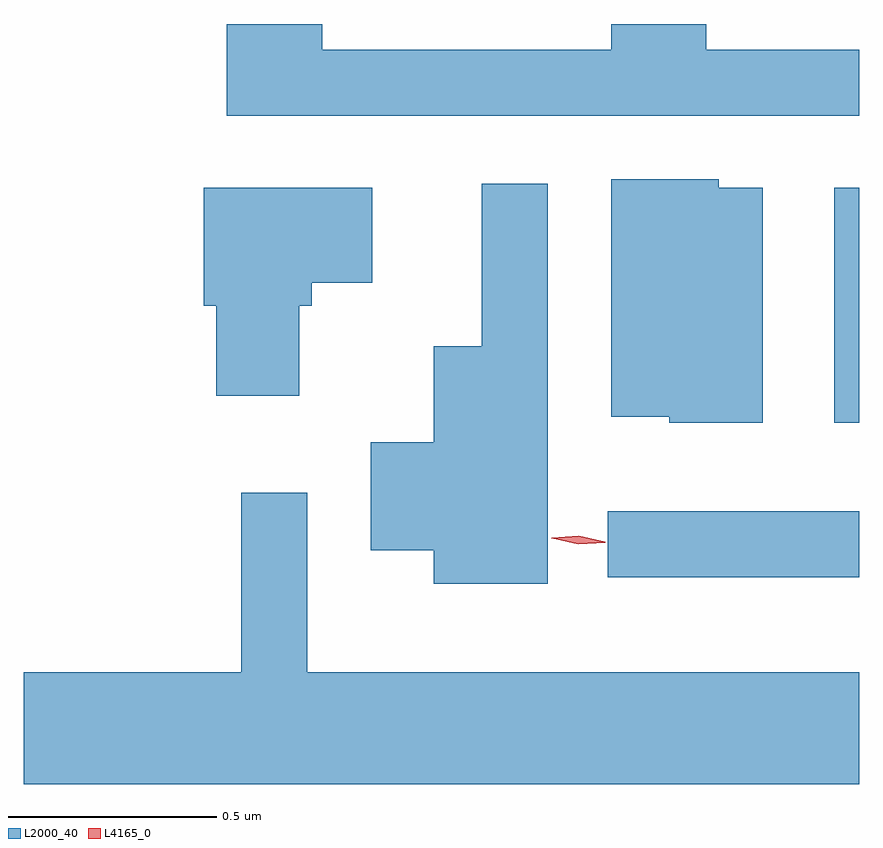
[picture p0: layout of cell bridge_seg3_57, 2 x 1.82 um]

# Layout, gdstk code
import gdstk
lib = gdstk.Library(unit=1e-6, precision=1e-09)
def R(c, l, rs):  # rectangles x0, y0, x1, y1
    for r in rs: c.add(gdstk.rectangle(r[:2], r[2:], *l))
def P(c, l, *ps):  # polygons
    for p in ps: c.add(gdstk.Polygon(p, *l))
L2000_40 = (2000, 40)
L4165_0 = (4165, 0)

bridge_seg3_57 = lib.new_cell('bridge_seg3_57')
R(bridge_seg3_57, L2000_40, [(1180.823,1173.131,1181.425,1173.289), (1181.366,1173.501,1181.425,1174.064)])
P(bridge_seg3_57, L2000_40, [(1181.425,1174.394),(1181.059,1174.394),(1181.059,1174.456),(1180.831,1174.456),(1180.831,1174.394),(1180.139,1174.394),(1180.139,1174.456),(1179.911,1174.456),(1179.911,1174.236),(1181.425,1174.236)],
  [(1181.194,1174.064),(1181.089,1174.064),(1181.089,1174.084),(1180.831,1174.084),(1180.831,1173.516),(1180.97,1173.516),(1180.97,1173.501),(1181.194,1173.501)],
  [(1180.679,1174.073),(1180.521,1174.073),(1180.521,1173.684),(1180.406,1173.684),(1180.406,1173.454),(1180.256,1173.454),(1180.256,1173.196),(1180.406,1173.196),(1180.406,1173.116),(1180.679,1173.116)],
  [(1180.084,1173.781),(1180.114,1173.781),(1180.114,1173.836),(1180.259,1173.836),(1180.259,1174.064),(1179.856,1174.064),(1179.856,1173.781),(1179.886,1173.781),(1179.886,1173.566),(1180.084,1173.566)],
  [(1181.425,1172.904),(1180.104,1172.904),(1180.104,1173.333),(1179.946,1173.333),(1179.946,1172.904),(1179.425,1172.904),(1179.425,1172.636),(1181.425,1172.636)])
P(bridge_seg3_57, L4165_0, [(1180.752,1173.21),(1180.689,1173.225),(1180.688,1173.225),(1180.689,1173.226),(1180.754,1173.23),(1180.817,1173.216),(1180.817,1173.215),(1180.817,1173.214)])

lib.write_gds('bridge_seg3_57.gds')
